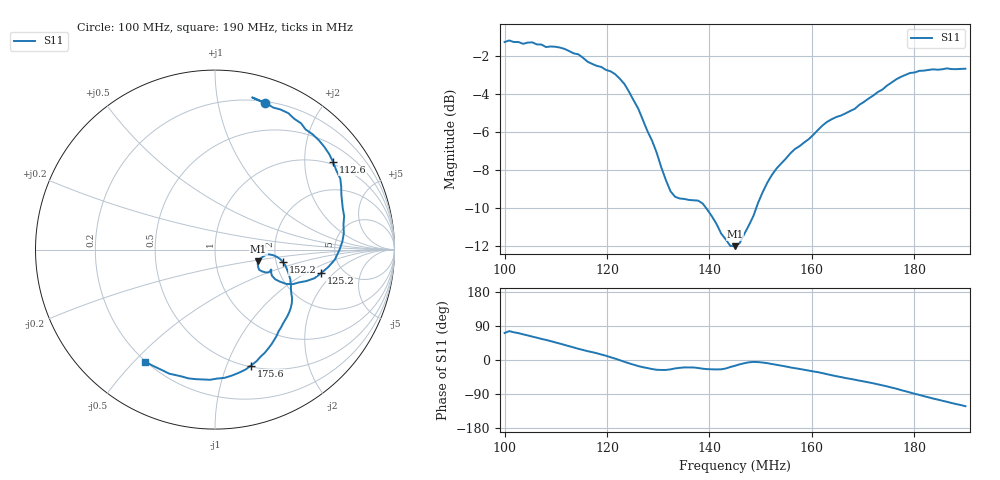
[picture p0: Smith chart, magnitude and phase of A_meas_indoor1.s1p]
!File created by NanoVNA-F V2
# Hz S RI R 50
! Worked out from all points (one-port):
!   101 points, 100 MHz to 190 MHz, reference 50 ohm
!   lowest |S11| = -12.0 dB at 145 MHz (marker M1), VSWR 1.67, Z = 80.8 - j11.4 ohm
!   |S11| at or under -10 dB: 139.3 MHz to 149.2 MHz (9.876 MHz wide, 6.85 % of centre)
!   S11 on the Smith chart (normalised r, x): 100 MHz: 0.21, +1.37; 112.6 MHz: 0.94, +2.76; 125.2 MHz: 3.46, -1.42; 152.2 MHz: 2.18, -0.36; 175.6 MHz: 0.51, -1.22; 190 MHz: 0.20, -0.54
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1e8  0.2779 0.8189
1.009e8  0.2071 0.848
1.054e8  0.4087 0.76
1.09e8  0.5433 0.6427
1.117e8  0.6367 0.5314
1.126e8  0.6587 0.486
1.144e8  0.6982 0.3954
1.189e8  0.7196 0.1853
1.225e8  0.6919 -0.00551
1.252e8  0.5926 -0.1301
1.27e8  0.5097 -0.1752
1.297e8  0.3979 -0.1915
1.324e8  0.3174 -0.1459
1.342e8  0.3126 -0.1184
1.387e8  0.2984 -0.1268
1.423e8  0.2458 -0.1123
1.45e8  0.2414 -0.0659
1.486e8  0.2996 -0.0265
1.522e8  0.3791 -0.071
1.567e8  0.4198 -0.1661
1.621e8  0.4281 -0.2968
1.675e8  0.3681 -0.4336
1.72e8  0.2986 -0.5487
1.756e8  0.1999 -0.6461
1.792e8  0.0536 -0.7144
1.837e8  -0.1486 -0.7173
1.864e8  -0.2556 -0.691
1.9e8  -0.3887 -0.624
